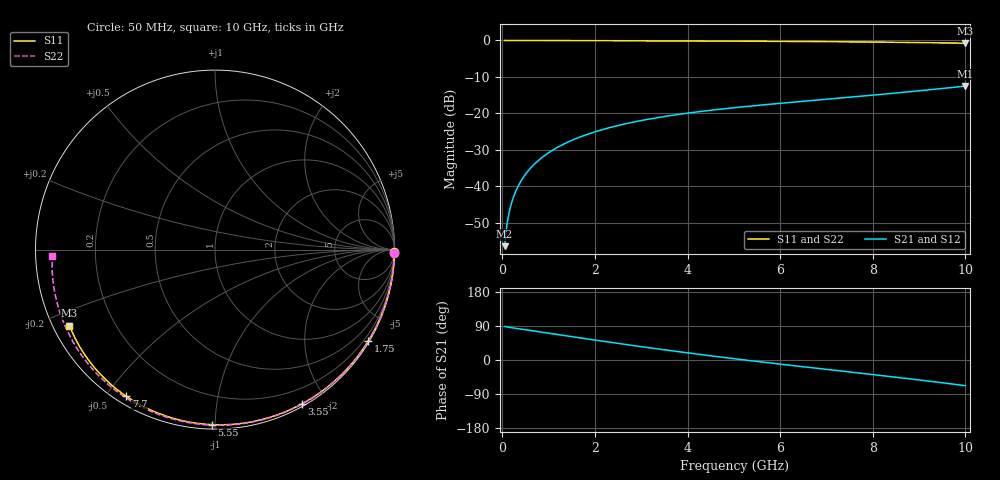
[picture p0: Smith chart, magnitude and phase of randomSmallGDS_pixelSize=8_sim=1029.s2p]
! freq	dB(S11)	phase(S11)	dB(S12)	phase(S12)
!  dB(S21)	phase(S21)	dB(S22)	phase(S22)
!S-par simulation data
#  GHz  S  DB  R 50
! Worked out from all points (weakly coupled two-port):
!   200 points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, 50 MHz to 10 GHz, reference 50 ohm
!   highest |S21| = -12.52 dB at 10 GHz (marker M1); lowest = -56.4 dB at 50 MHz (marker M2)
!   lowest |S11| = -0.8 dB at 10 GHz (marker M3), VSWR 22.45, Z = 2.36 - j12.2 ohm
!   |S11| at or under -10 dB: nowhere
!   |S22| runs from -0.8 to 0.0 dB; largest |S21 - S12| = 0
!   S11 on the Smith chart (normalised r, x): 50 MHz: open; 1.75 GHz: 0.04, -3.64; 3.55 GHz: 0.03, -1.71; 5.55 GHz: 0.02, -0.98; 7.7 GHz: 0.03, -0.56; 10 GHz: 0.05, -0.24
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0.05  -0.00 -0.9  -56.44 88.5  -56.44 88.5  -0.00 -1.0
0.1  -0.00 -1.8  -50.47 87.2  -50.47 87.2  -0.00 -2.0
0.15  -0.00 -2.7  -47.01 86.1  -47.01 86.1  -0.00 -3.0
0.2  -0.00 -3.6  -44.56 85.2  -44.56 85.2  -0.00 -4.0
0.25  -0.00 -4.5  -42.66 84.3  -42.66 84.3  -0.00 -5.1
0.35  -0.01 -6.3  -39.78 82.5  -39.78 82.5  -0.01 -7.1
0.5  -0.01 -8.9  -36.72 79.9  -36.72 79.9  -0.01 -10.1
0.7  -0.02 -12.5  -33.84 76.3  -33.84 76.3  -0.02 -14.1
1  -0.03 -17.7  -30.81 70.8  -30.81 70.8  -0.03 -20.1
1.35  -0.04 -23.8  -28.28 64.3  -28.28 64.3  -0.04 -27.0
1.75  -0.05 -30.7  -26.15 57.1  -26.15 57.1  -0.05 -34.8
2.6  -0.08 -45.1  -23.04 42.0  -23.04 42.0  -0.09 -51.0
3.4  -0.11 -58.2  -21.07 28.5  -21.07 28.5  -0.12 -65.7
3.55  -0.12 -60.6  -20.76 26.1  -20.76 26.1  -0.13 -68.4
4.3  -0.15 -72.3  -19.46 14.1  -19.46 14.1  -0.16 -81.7
5.05  -0.19 -83.7  -18.39 2.8  -18.39 2.8  -0.20 -94.5
5.55  -0.22 -91.0  -17.77 -4.5  -17.77 -4.5  -0.24 -102.9
6.7  -0.30 -107.4  -16.47 -20.6  -16.47 -20.6  -0.33 -121.7
7.7  -0.40 -121.1  -15.36 -34.3  -15.36 -34.3  -0.43 -138.0
8.35  -0.48 -130.0  -14.60 -43.3  -14.60 -43.3  -0.52 -148.7
9.2  -0.61 -141.5  -13.56 -55.5  -13.56 -55.5  -0.67 -163.3
10  -0.77 -152.5  -12.52 -67.8  -12.52 -67.8  -0.84 -177.8
